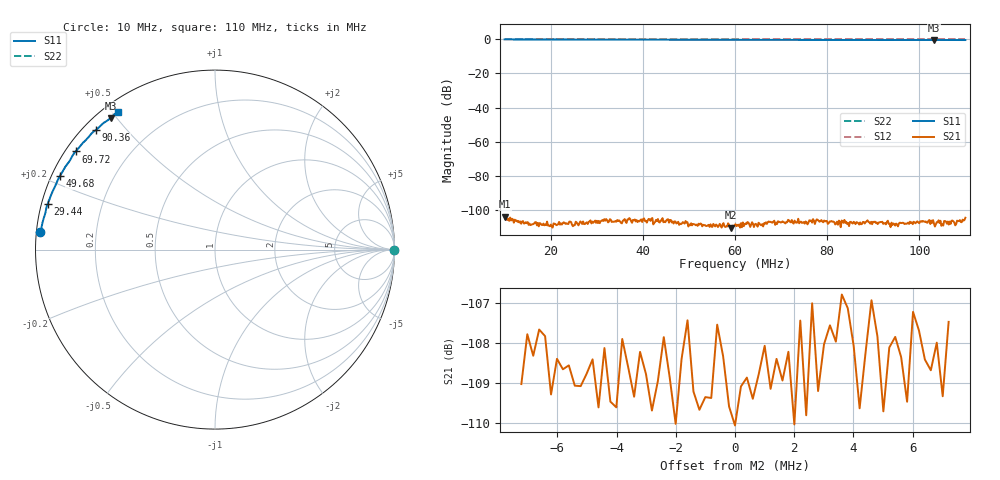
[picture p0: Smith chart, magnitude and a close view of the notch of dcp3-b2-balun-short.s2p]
! Anritsu VNA Master:  Model: MS2034B/10/19/501
! SN:  1337062
! /bd0/ovro-jan-2016/dcp3-b2-balun-short.s2p
! Existing Calibration Information:
! TYPE:  Current Settings,  Active Cal Settings
! TIME:  01/14/2016 12:52:28 PM,  01/14/2016 12:01:10 PM
! INTERNAL TEMP:  42.5 C,  43.8 C
! # POINTS:  500,  500
! START FREQ:  10.000 MHz,  10.000 MHz
! STOP FREQ:  110.000 MHz,  110.000 MHz
! SOURCE POWER:  High,  High
! IFBW:  100 Hz,  100 Hz
! AVG FACTOR:  4 ,  4
! REF PLANE 1:  0 mm,  0 mm
! REF PLANE 2:  0 mm,  0 mm
! CAL TYPE:  Full S11,  Full S11
! CAL METHOD:  SOLT,  SOLT
! CAL LINE TYPE:  Coax,  Coax
! DUT PORT 1:  K-Conn(M),  K-Conn(M)
! DUT PORT 2:  N-Conn(M),  N-Conn(M)
! CAL STATUS:  OK: Accuracy High,  --
# GHZ S DB R 50.0
! FREQ.GHZ  S11DB  S11A  S21DB  S21A  S12DB  S12A  S22DB  S22A
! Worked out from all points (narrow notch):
!   500 points, 10 MHz to 110 MHz, reference 50 ohm
!   highest |S21| = -103.62 dB at 10 MHz (marker M1); lowest = -110.1 dB at 59.1 MHz (marker M2)
!   notch at M2: 3.0 dB deep, 1.23 MHz wide at half that depth
!   lowest |S11| = -0.6 dB at 103.2 MHz (marker M3), VSWR 29.61, Z = 2.08 + j24.1 ohm
!   |S11| at or under -10 dB: nowhere
!   |S22| runs from 0.0 to 0.0 dB; largest |S21 - S12| = 1
!   S11 on the Smith chart (normalised r, x): 10 MHz: 0.01, +0.05; 29.44 MHz: 0.02, +0.14; 49.68 MHz: 0.02, +0.22; 69.72 MHz: 0.03, +0.32; 90.36 MHz: 0.04, +0.41; 110 MHz: 0.04, +0.52
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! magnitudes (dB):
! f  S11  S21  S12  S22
! 10 MHz  -0.2  -103.6  0.0  0.0
! 22.42 MHz  -0.3  -108.2  0.0  0.0
! 26.83 MHz  -0.3  -107.9  0.0  0.0
! 29.44 MHz  -0.3  -106.5  0.0  0.0
! 43.47 MHz  -0.4  -106.8  0.0  0.0
! 47.47 MHz  -0.4  -107.2  0.0  0.0
! 49.68 MHz  -0.4  -106.9  0.0  0.0
! 59.1 MHz  -0.4  -110.1  0.0  0.0
! 60.1 MHz  -0.4  -108.1  0.0  0.0
! 61.9 MHz  -0.5  -109.2  0.0  0.0
! 66.51 MHz  -0.4  -107.8  0.0  0.0
! 69.72 MHz  -0.4  -106.8  0.0  0.0
! 76.73 MHz  -0.5  -107.1  0.0  0.0
! 81.94 MHz  -0.5  -107.7  0.0  0.0
! 86.55 MHz  -0.5  -107.0  0.0  0.0
! 90.36 MHz  -0.5  -106.6  0.0  0.0
! 93.37 MHz  -0.5  -107.8  0.0  0.0
! 96.37 MHz  -0.5  -107.2  0.0  0.0
! 100.8 MHz  -0.6  -106.2  0.0  0.0
! 103.2 MHz  -0.6  -107.7  0.0  0.0
! 106.8 MHz  -0.5  -107.9  0.0  0.0
! 110 MHz  -0.6  -104.3  0.0  0.0
